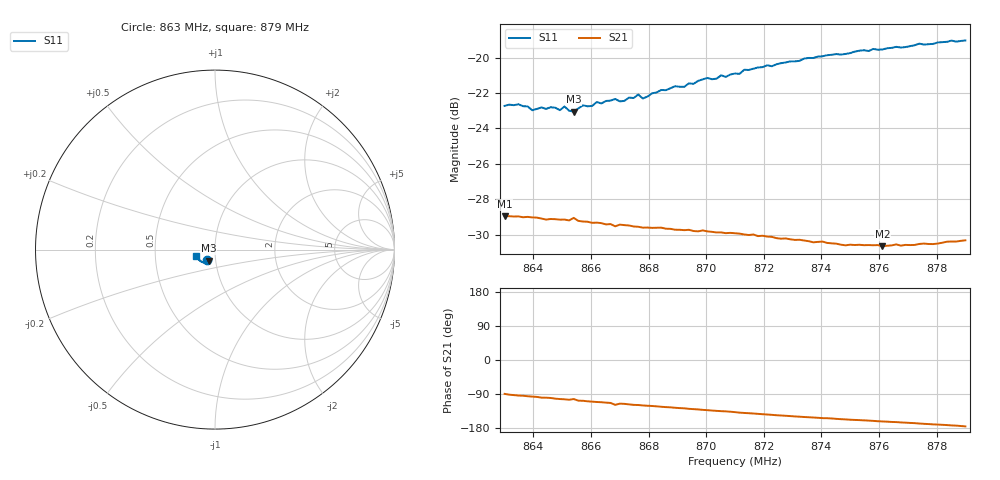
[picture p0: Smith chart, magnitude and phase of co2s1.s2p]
# HZ S RI R 50
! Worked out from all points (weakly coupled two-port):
!   101 points, 863 MHz to 879 MHz, reference 50 ohm
!   highest |S21| = -28.96 dB at 863 MHz (marker M1); lowest = -30.7 dB at 876.12 MHz (marker M2)
!   lowest |S11| = -23.1 dB at 865.4 MHz (marker M3), VSWR 1.15, Z = 46.3 - j5.69 ohm
!   |S11| at or under -10 dB: start of sweep to end of sweep
!   S12 and S22 are empty: the file has one direction only
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8.63e8  -0.0426 -0.0593  0.000376 -0.0356  0 0  0 0
8.6348e8  -0.0425 -0.0604  -0.00234 -0.0355  0 0  0 0
8.6396e8  -0.0403 -0.0584  -0.00402 -0.0351  0 0  0 0
8.646e8  -0.0396 -0.0606  -0.00619 -0.0344  0 0  0 0
8.6492e8  -0.0384 -0.0598  -0.00786 -0.0339  0 0  0 0
8.6508e8  -0.0384 -0.0618  -0.00825 -0.0339  0 0  0 0
8.654e8  -0.0347 -0.0612  -0.00795 -0.0343  0 0  0 0
8.6572e8  -0.0378 -0.0628  -0.0104 -0.0328  0 0  0 0
8.6604e8  -0.0381 -0.0623  -0.0116 -0.0321  0 0  0 0
8.662e8  -0.04 -0.0633  -0.0121 -0.0319  0 0  0 0
8.6636e8  -0.0391 -0.0631  -0.0124 -0.0317  0 0  0 0
8.6684e8  -0.0392 -0.0656  -0.0158 -0.0294  0 0  0 0
8.6716e8  -0.0386 -0.0648  -0.0146 -0.0303  0 0  0 0
8.6764e8  -0.0416 -0.0667  -0.016 -0.0291  0 0  0 0
8.678e8  -0.0392 -0.0658  -0.0165 -0.0287  0 0  0 0
8.6844e8  -0.043 -0.0686  -0.0182 -0.0276  0 0  0 0
8.6924e8  -0.045 -0.0694  -0.0198 -0.0258  0 0  0 0
8.71e8  -0.054 -0.0721  -0.0235 -0.0215  0 0  0 0
8.7372e8  -0.0722 -0.0688  -0.0265 -0.0142  0 0  0 0
8.7612e8  -0.0887 -0.0569  -0.0279 -0.009  0 0  0 0
8.7644e8  -0.0913 -0.0548  -0.0282 -0.00839  0 0  0 0
8.79e8  -0.1057 -0.0365  -0.0303 -0.00255  0 0  0 0
